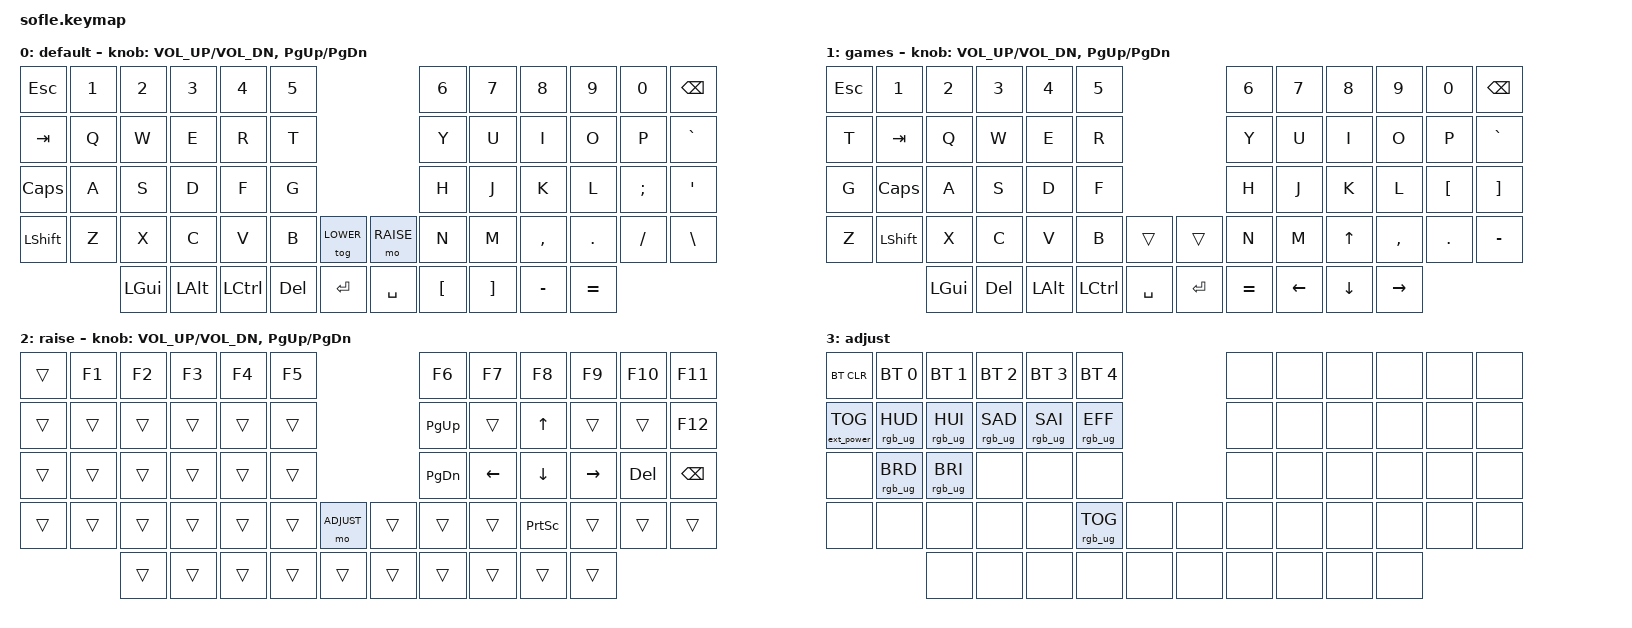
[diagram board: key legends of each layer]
/*
 * Copyright (c) 2020 The ZMK Contributors
 * Updated 6/29/2025
 * SPDX-License-Identifier: MIT
 */

#include <behaviors.dtsi>
#include <dt-bindings/zmk/keys.h>
#include <dt-bindings/zmk/bt.h>
#include <dt-bindings/zmk/rgb.h>
#include <dt-bindings/zmk/ext_power.h>

#define BASE 0
#define LOWER 1
#define RAISE 2
#define ADJUST 3

#include <dt-bindings/led/led.h>

&pinctrl {
    spi3_default: spi3_default {
        group1 {
            psels = <NRF_PSEL(SPIM_MOSI, 0, 8)>;
        };
    };

    spi3_sleep: spi3_sleep {
        group1 {
            psels = <NRF_PSEL(SPIM_MOSI, 0, 8)>;
            low-power-enable;
        };
    };
};

&spi3 {
    compatible = "nordic,nrf-spim";
    status = "okay";

    pinctrl-0 = <&spi3_default>;
    pinctrl-1 = <&spi3_sleep>;
    pinctrl-names = "default", "sleep";

    led_strip: ws2812@0 {
        compatible = "worldsemi,ws2812-spi";
        label = "WS2812";

        /* SPI */
        reg = <0>; /* ignored, but necessary for SPI bindings */
        spi-max-frequency = <4000000>;

        /* WS2812 */
        chain-length = <30>;
        spi-one-frame = <0x70>;
        spi-zero-frame = <0x40>;

        color-mapping = <LED_COLOR_ID_GREEN LED_COLOR_ID_RED LED_COLOR_ID_BLUE>;
    };
};

/ {
    chosen {
        zmk,underglow = &led_strip;
    };
};

/* END temporary RGB support section */
/ {

   // Activate ADJUST layer by pressing raise and lower
    //conditional_layers {
        //compatible = "zmk,conditional-layers";
       // adjust_layer {
            if-layers = <LOWER RAISE>;
           // then-layer = <ADJUST>;
      //  };
   // };

    keymap {
        compatible = "zmk,keymap";

        default_layer {
            display-name = "default";
// ------------------------------------------------------------------------------------------------------------
// |  ESC  |  1  |  2  |  3   |  4   |  5   |                   |  6   |  7    |  8    |  9   |   0   |  BKSPC|
// |  TAB  |  Q  |  W  |  E   |  R   |  T   |                   |  Y   |  U    |  I    |  O   |   P   |   ~   |
// |  CAPS |  A  |  S  |  D   |  F   |  G   |                   |  H   |  J    |  K    |  L   |   ;   |   '   |
// | SHIFT |  Z  |  X  |  C   |  V   |  B   | LOWER |  |  RAISE|  N   |  M    |  ,    |  .   |   /   |   \   |
//               | GUI | ALT  | CTRL | DEL  |  ENTER | | SPACE | [    |   ]   |   -   |   =  |
            bindings = <
&kp ESC &kp N1 &kp N2   &kp N3   &kp N4    &kp N5                             &kp N6 &kp N7    &kp N8    &kp N9   &kp N0   &kp BSPC
&kp TAB  &kp Q  &kp W    &kp E    &kp R     &kp T                             &kp Y  &kp U     &kp I     &kp O    &kp P    &kp GRAVE
&kp CAPS  &kp A  &kp S    &kp D    &kp F     &kp G                           &kp H  &kp J     &kp K     &kp L    &kp SEMI &kp SQT
&kp LSHFT &kp Z  &kp X    &kp C    &kp V     &kp B    &tog LOWER  &mo RAISE   &kp N  &kp M     &kp COMMA &kp DOT  &kp FSLH &kp BSLH
                 &kp LGUI &kp LALT &kp LCTRL &kp DEL  &kp RET    &kp SPACE  &kp LBKT  &kp RBKT &kp MINUS  &kp EQUAL
            >;

            sensor-bindings = <&inc_dec_kp C_VOL_UP C_VOL_DN &inc_dec_kp PG_UP PG_DN>;
        };

		lower_layer {
            display-name = "games";
// ------------------------------------------------------------------------------------------------------------
// |  ESC |   1   |  2  |  3  |  4   |  5   |                   |  6   |  7    |  8    |  9   |   0   |  BKSPC|
// |  T   |  TAB  |  Q  |  W  |  E   |  R   |                   |  Y   |  U    |  I    |  O   |   P   |   ~   |
// |  G   |  CAPS |  A  |  S  |  D   |  F   |                   |  H   |  J    |  K    |  L   |   [   |   ]   |
// |  Z   | SHIFT |  X  |  C  |  V   |  B   |        | |        |  N   |  M    |  UP   |  ,   |   .   |   -  |
//               | GUI  | DEL  | ALT | CTRL |  SPACE | | ENTER  |  =   |  LEFT |  DOWN | RIGHT |
            bindings = <
&kp ESC &kp N1    &kp N2 &kp N3 &kp N4   &kp N5                          &kp N6 &kp N7    &kp N8    &kp N9   &kp N0   &kp BSPC
&kp T   &kp TAB   &kp Q  &kp W  &kp E    &kp R                           &kp Y  &kp U     &kp I     &kp O    &kp P    &kp GRAVE
&kp G   &kp CAPS  &kp A  &kp S  &kp D    &kp F                           &kp H  &kp J     &kp K     &kp L    &kp LBKT &kp RBKT
&kp Z   &kp LSHFT &kp X  &kp C  &kp V    &kp B    &trans     &trans   &kp N  &kp M     &kp UP &kp COMMA  &kp DOT &kp MINUS
            &kp LGUI &kp DEL &kp LALT &kp LCTRL   &kp SPACE  &kp RET  &kp EQUAL  &kp LEFT &kp DOWN  &kp RIGHT
            >;

            sensor-bindings = <&inc_dec_kp C_VOL_UP C_VOL_DN &inc_dec_kp PG_UP PG_DN>;
        };

        raise_layer {
            display-name = "raise";
// ------------------------------------------------------------------------------------------------------------
// |       |  F1 |  F2 |  F3  |  F4  |  F5  |                |  F6  |  F7  |  F8   |  F9  |  F10  |  F11  |
// |       |     |     |      |      |      |                | PGUP |      |   ^   |      |       |  F12  |
// |       |     |     |      |      |      |                | PGDN |   <- |   v   |  ->  |  DEL  | BKSPC |
// |       |     |     |      |      |      | adjust |  |      |      |      | PSCR  |      |       |       |
//               |     |      |      |      |      |  |      |      |      |       |      |
            bindings = <
&trans     &kp F1      &kp F2    &kp F3   &kp F4   &kp F5                   &kp F6    &kp F7   &kp F8    &kp F9    &kp F10   &kp F11
&trans     &trans      &trans    &trans   &trans   &trans                   &kp PG_UP &trans    &kp UP   &trans    &trans  &kp F12
&trans     &trans      &trans    &trans   &trans   &trans                   &kp PG_DN &kp LEFT  &kp DOWN &kp RIGHT &kp DEL &kp BSPC
&trans     &trans      &trans    &trans   &trans   &trans   &mo ADJUST  &trans  &trans    &trans    &kp PSCRN   &trans    &trans  &trans
                        &trans   &trans    &trans    &trans  &trans  &trans  &trans    &trans    &trans   &trans
            >;

            sensor-bindings = <&inc_dec_kp C_VOL_UP C_VOL_DN &inc_dec_kp PG_UP PG_DN>;
        };

        adjust_layer {
		display-name = "adjust";
// ----------------------------------------------------------------------------------------------------------------------------
// | BTCLR  |  BT1    |  BT2    |   BT3   |   BT4   |   BT5   |                  |      |      |       |      |       |       |
// | EXTPWR | RGB_HUD | RGB_HUI | RGB_SAD | RGB_SAI | RGB_EFF |                  |      |      |       |      |       |       |
// |        | RGB_BRD | RGB_BRI |         |         |         |                  |      |      |       |      |       |       |
// |        |         |         |         |         |RGB_TOG  |         | |      |      |      |       |      |       |       |
//                    |         |         |         |         |         | |      |      |      |       |      |
            display-name = "adjust";
            bindings = <
&bt BT_CLR        &bt BT_SEL 0    &bt BT_SEL 1    &bt BT_SEL 2    &bt BT_SEL 3    &bt BT_SEL 4                            &none &none &none &none &none &none
&ext_power EP_TOG &rgb_ug RGB_HUD &rgb_ug RGB_HUI &rgb_ug RGB_SAD &rgb_ug RGB_SAI &rgb_ug RGB_EFF                         &none &none &none &none &none &none
&none             &rgb_ug RGB_BRD &rgb_ug RGB_BRI &none           &none           &none                                   &none &none &none &none &none &none
&none             &none           &none           &none           &none           &rgb_ug RGB_TOG  &none             &none  &none &none &none &none &none &none
                                  &none           &none           &none           &none            &none           &none  &none &none &none &none
            >;
        };

    };
};
